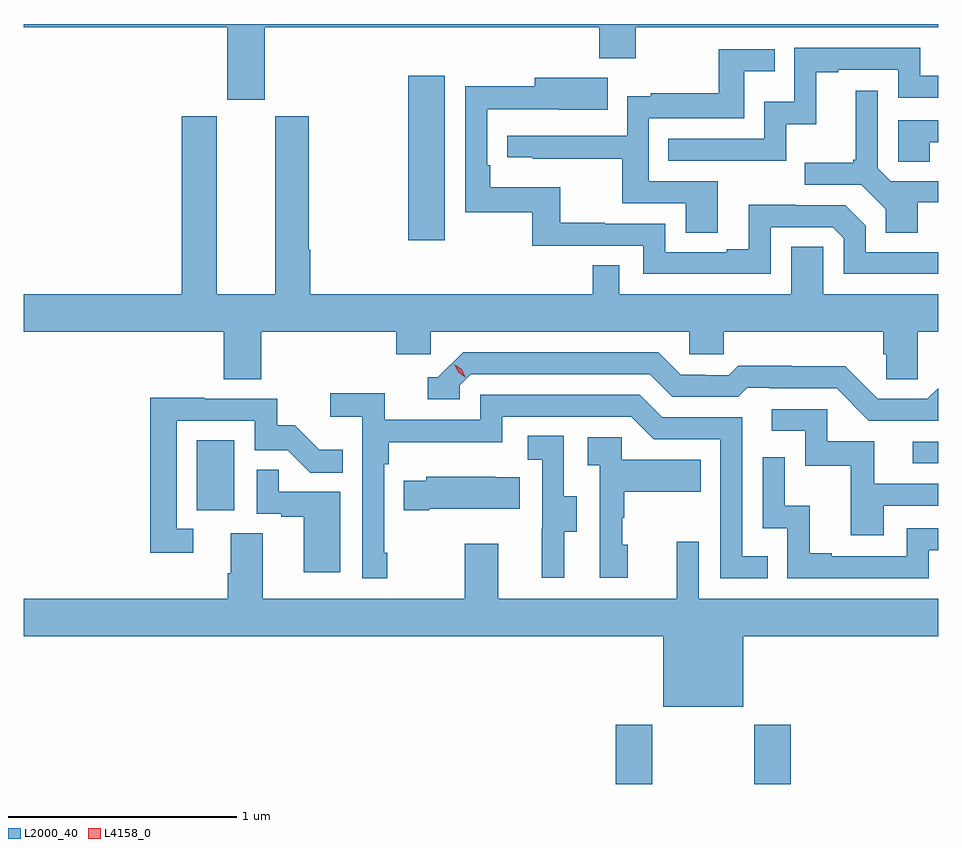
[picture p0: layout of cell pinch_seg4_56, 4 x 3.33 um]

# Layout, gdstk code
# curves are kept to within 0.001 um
import gdstk
lib = gdstk.Library(unit=1e-6, precision=1e-09)
def R(c, l, rs):  # rectangles x0, y0, x1, y1
    for r in rs: c.add(gdstk.rectangle(r[:2], r[2:], *l))
def P(c, l, *ps):  # polygons
    for p in ps: c.add(gdstk.Polygon(p, *l))
L2000_40 = (2000, 40)
L4158_0 = (4158, 0)

pinch_seg4_56 = lib.new_cell('pinch_seg4_56')
R(pinch_seg4_56, L2000_40, [(1036.061,829.473,1036.221,829.732), (1036.666,829.473,1036.826,829.732), (1034.228,830.67,1034.392,830.977), (1037.361,830.877,1037.471,830.97), (1035.152,831.852,1035.313,832.573)])
P(pinch_seg4_56, L2000_40, [(1034.524,832.784),(1035.989,832.784),(1035.989,832.649),(1036.149,832.649),(1036.149,832.784),(1037.471,832.784),(1037.471,832.799),(1033.471,832.799),(1033.471,832.784),(1034.36,832.784),(1034.36,832.467),(1034.524,832.467)],
  [(1036.806,832.361),(1036.939,832.361),(1036.939,832.587),(1037.035,832.587),(1037.035,832.599),(1037.298,832.599),(1037.298,832.476),(1037.471,832.476),(1037.471,832.572),(1037.394,832.572),(1037.394,832.695),(1036.842,832.695),(1036.842,832.459),(1036.71,832.459),(1036.71,832.296),(1036.291,832.296),(1036.291,832.2),(1036.806,832.2)],
  [(1036.507,832.11),(1036.206,832.11),(1036.206,832.386),(1036.623,832.386),(1036.623,832.592),(1036.757,832.592),(1036.757,832.689),(1036.512,832.689),(1036.512,832.495),(1036.213,832.495),(1036.213,832.483),(1036.11,832.483),(1036.11,832.311),(1035.585,832.311),(1035.585,832.215),(1035.697,832.215),(1035.697,832.21),(1036.09,832.21),(1036.09,832.014),(1036.367,832.014),(1036.367,831.886),(1036.507,831.886)],
  [(1036.74,831.909),(1037.01,831.909),(1037.058,831.861),(1037.058,831.705),(1037.471,831.705),(1037.471,831.801),(1037.154,831.801),(1037.154,831.915),(1037.064,832.005),(1036.848,832.005),(1036.848,832.007),(1036.643,832.007),(1036.643,831.814),(1036.547,831.814),(1036.547,831.801),(1036.278,831.801),(1036.278,831.924),(1036.013,831.924),(1036.013,831.929),(1035.817,831.929),(1035.817,832.084),(1035.512,832.084),(1035.512,832.18),(1035.498,832.18),(1035.498,832.425),(1036.025,832.424),(1036.025,832.564),(1035.707,832.564),(1035.707,832.526),(1035.402,832.526),(1035.402,831.975),(1035.696,831.975),(1035.696,831.828),(1036.182,831.828),(1036.182,831.705),(1036.74,831.705)],
  [(1037.383,832.018),(1037.471,832.018),(1037.471,832.11),(1037.265,832.11),(1037.208,832.167),(1037.208,832.507),(1037.111,832.507),(1037.111,832.204),(1037.1,832.204),(1037.1,832.192),(1036.887,832.192),(1036.887,832.095),(1037.136,832.095),(1037.243,831.988),(1037.243,831.886),(1037.383,831.886)],
  [(1034.51,831.452),(1035.101,831.452),(1035.101,831.354),(1035.252,831.354),(1035.252,831.452),(1036.383,831.452),(1036.383,831.354),(1036.533,831.354),(1036.533,831.452),(1037.231,831.452),(1037.231,831.354),(1037.245,831.354),(1037.245,831.244),(1037.382,831.244),(1037.382,831.452),(1037.471,831.452),(1037.471,831.616),(1036.968,831.616),(1036.968,831.824),(1036.829,831.824),(1036.829,831.616),(1036.077,831.616),(1036.077,831.743),(1035.961,831.743),(1035.961,831.616),(1034.723,831.616),(1034.723,831.812),(1034.718,831.812),(1034.718,832.395),(1034.57,832.395),(1034.57,831.616),(1034.314,831.616),(1034.314,832.395),(1034.162,832.395),(1034.162,831.616),(1033.471,831.616),(1033.471,831.452),(1034.345,831.452),(1034.345,831.244),(1034.51,831.244)],
  [(1037.435,832.281),(1037.471,832.281),(1037.471,832.377),(1037.298,832.377),(1037.298,832.197),(1037.435,832.197)],
  [(1037.471,831.206),(1037.424,831.159),(1037.208,831.159),(1037.066,831.301),(1036.83,831.301),(1036.83,831.304),(1036.597,831.304),(1036.555,831.261),(1036.452,831.261),(1036.452,831.264),(1036.345,831.264),(1036.246,831.363),(1035.393,831.363),(1035.282,831.252),(1035.239,831.252),(1035.239,831.156),(1035.378,831.156),(1035.378,831.219),(1035.426,831.267),(1036.209,831.267),(1036.308,831.168),(1036.597,831.168),(1036.636,831.207),(1036.735,831.207),(1036.735,831.204),(1037.028,831.204),(1037.169,831.063),(1037.471,831.063)],
  [(1035.061,830.485),(1035.048,830.485),(1035.048,830.873),(1035.068,830.873),(1035.068,830.969),(1035.564,830.969),(1035.564,831.081),(1036.128,831.081),(1036.227,830.982),(1036.518,830.982),(1036.518,830.373),(1036.727,830.373),(1036.727,830.469),(1036.614,830.469),(1036.614,831.078),(1036.264,831.078),(1036.165,831.177),(1035.468,831.177),(1035.468,831.066),(1035.05,831.066),(1035.05,831.182),(1034.811,831.182),(1034.811,831.08),(1034.952,831.08),(1034.952,830.373),(1035.061,830.373)],
  [(1034.212,830.589),(1034.139,830.589),(1034.139,831.063),(1034.481,831.063),(1034.481,830.934),(1034.625,830.934),(1034.723,830.836),(1034.867,830.836),(1034.867,830.935),(1034.763,830.935),(1034.656,831.042),(1034.58,831.042),(1034.58,831.159),(1034.261,831.159),(1034.261,831.164),(1034.023,831.164),(1034.023,830.484),(1034.212,830.484)],
  [(1037.233,830.691),(1037.471,830.691),(1037.471,830.787),(1037.191,830.787),(1037.191,830.973),(1036.986,830.973),(1036.986,831.114),(1036.743,831.114),(1036.743,831.018),(1036.89,831.018),(1036.89,830.865),(1037.089,830.865),(1037.089,830.562),(1037.233,830.562)],
  [(1035.835,830.578),(1035.889,830.578),(1035.889,830.733),(1035.834,830.733),(1035.834,830.996),(1035.675,830.996),(1035.675,830.893),(1035.738,830.893),(1035.738,830.589),(1035.737,830.589),(1035.737,830.376),(1035.835,830.376)],
  [(1036.114,830.52),(1036.089,830.52),(1036.089,830.639),(1036.099,830.639),(1036.099,830.753),(1036.433,830.753),(1036.433,830.893),(1036.086,830.893),(1036.086,830.991),(1035.939,830.991),(1035.939,830.867),(1035.99,830.867),(1035.99,830.376),(1036.114,830.376)],
  [(1037.43,830.496),(1037.471,830.496),(1037.471,830.592),(1037.334,830.592),(1037.334,830.469),(1037.005,830.469),(1037.005,830.482),(1036.91,830.482),(1036.91,830.69),(1036.8,830.69),(1036.8,830.902),(1036.704,830.902),(1036.704,830.592),(1036.812,830.592),(1036.812,830.373),(1037.43,830.373)],
  [(1034.854,830.751),(1034.585,830.751),(1034.585,830.849),(1034.49,830.849),(1034.49,830.655),(1034.597,830.655),(1034.597,830.643),(1034.696,830.643),(1034.696,830.4),(1034.854,830.4)],
  [(1035.244,830.678),(1035.641,830.678),(1035.641,830.815),(1035.533,830.815),(1035.533,830.818),(1035.231,830.818),(1035.231,830.8),(1035.133,830.8),(1035.133,830.671),(1035.244,830.671)],
  [(1036.618,830.12),(1037.471,830.12),(1037.471,830.284),(1036.425,830.284),(1036.425,830.533),(1036.328,830.533),(1036.328,830.284),(1035.547,830.284),(1035.547,830.524),(1035.4,830.524),(1035.4,830.284),(1034.515,830.284),(1034.515,830.57),(1034.375,830.57),(1034.375,830.396),(1034.363,830.396),(1034.363,830.284),(1033.471,830.284),(1033.471,830.12),(1036.268,830.12),(1036.268,829.811),(1036.618,829.811)])
P(pinch_seg4_56, L4158_0, [(1035.403,831.254),(1035.372,831.274),(1035.357,831.306),(1035.357,831.307),(1035.357,831.307),(1035.387,831.287),(1035.403,831.254),(1035.403,831.254)])

lib.write_gds('pinch_seg4_56.gds')
